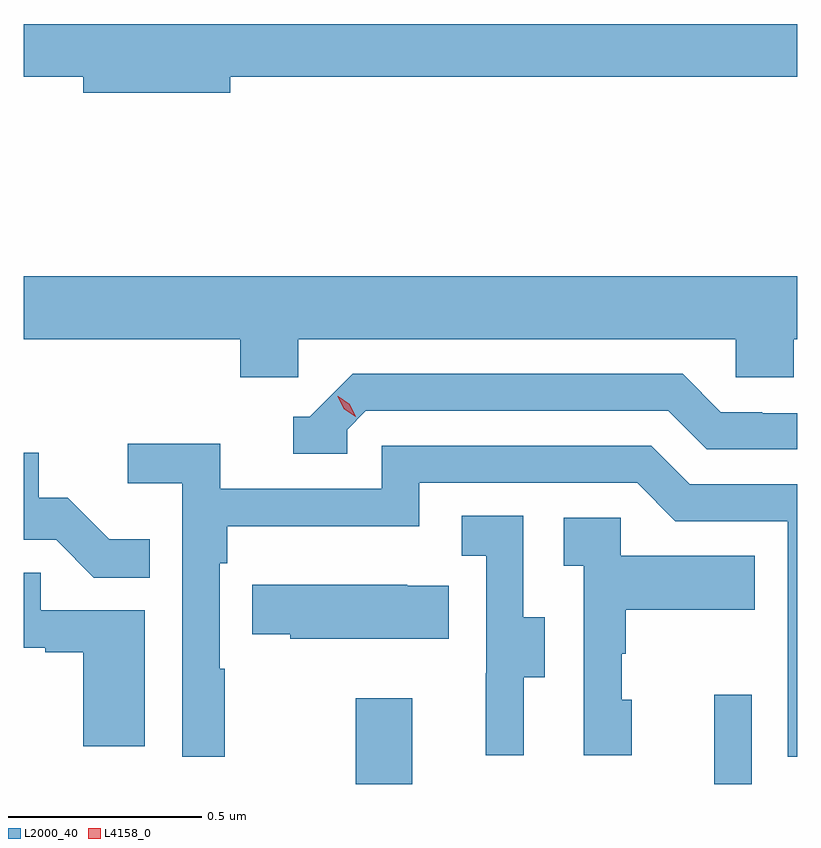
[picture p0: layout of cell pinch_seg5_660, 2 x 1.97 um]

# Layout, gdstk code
import gdstk
lib = gdstk.Library(unit=1e-6, precision=1e-09)
def R(c, l, rs):  # rectangles x0, y0, x1, y1
    for r in rs: c.add(gdstk.rectangle(r[:2], r[2:], *l))
def P(c, l, *ps):  # polygons
    for p in ps: c.add(gdstk.Polygon(p, *l))
L2000_40 = (2000, 40)
L4158_0 = (4158, 0)

pinch_seg5_660 = lib.new_cell('pinch_seg5_660')
R(pinch_seg5_660, L2000_40, [(1072.696,851.614,1072.843,851.836), (1073.624,851.614,1073.721,851.845)])
P(pinch_seg5_660, L2000_40, [(1072.372,853.444),(1073.838,853.444),(1073.838,853.58),(1071.838,853.58),(1071.838,853.444),(1071.992,853.444),(1071.992,853.402),(1072.372,853.402)],
  [(1072.548,852.764),(1073.679,852.764),(1073.679,852.666),(1073.829,852.666),(1073.829,852.764),(1073.838,852.764),(1073.838,852.928),(1071.838,852.928),(1071.838,852.764),(1072.397,852.764),(1072.397,852.666),(1072.548,852.666)],
  [(1072.674,852.531),(1072.722,852.579),(1073.505,852.579),(1073.604,852.48),(1073.838,852.48),(1073.838,852.573),(1073.748,852.573),(1073.748,852.576),(1073.641,852.576),(1073.542,852.675),(1072.689,852.675),(1072.578,852.564),(1072.535,852.564),(1072.535,852.468),(1072.674,852.468)],
  [(1072.357,851.912),(1072.344,851.912),(1072.344,852.185),(1072.364,852.185),(1072.364,852.281),(1072.86,852.281),(1072.86,852.393),(1073.424,852.393),(1073.523,852.294),(1073.814,852.294),(1073.814,851.685),(1073.838,851.685),(1073.838,852.39),(1073.56,852.39),(1073.461,852.489),(1072.764,852.489),(1072.764,852.378),(1072.346,852.378),(1072.346,852.494),(1072.107,852.494),(1072.107,852.392),(1072.248,852.392),(1072.248,851.685),(1072.357,851.685)],
  [(1072.163,852.247),(1072.059,852.247),(1071.952,852.354),(1071.876,852.354),(1071.876,852.471),(1071.838,852.471),(1071.838,852.246),(1071.921,852.246),(1072.019,852.148),(1072.163,852.148)],
  [(1073.131,851.89),(1073.185,851.89),(1073.185,852.045),(1073.13,852.045),(1073.13,852.308),(1072.971,852.308),(1072.971,852.205),(1073.034,852.205),(1073.034,851.901),(1073.033,851.901),(1073.033,851.688),(1073.131,851.688)],
  [(1073.41,851.832),(1073.385,851.832),(1073.385,851.951),(1073.395,851.951),(1073.395,852.065),(1073.729,852.065),(1073.729,852.205),(1073.382,852.205),(1073.382,852.303),(1073.235,852.303),(1073.235,852.179),(1073.286,852.179),(1073.286,851.688),(1073.41,851.688)],
  [(1072.15,852.063),(1071.881,852.063),(1071.881,852.161),(1071.838,852.161),(1071.838,851.967),(1071.893,851.967),(1071.893,851.955),(1071.992,851.955),(1071.992,851.712),(1072.15,851.712)],
  [(1072.937,852.127),(1072.829,852.127),(1072.829,852.13),(1072.429,852.13),(1072.429,852.001),(1072.527,852.001),(1072.527,851.99),(1072.937,851.99)])
P(pinch_seg5_660, L4158_0, [(1072.697,852.564),(1072.666,852.584),(1072.65,852.616),(1072.65,852.617),(1072.651,852.617),(1072.681,852.597),(1072.697,852.565),(1072.697,852.564)])

lib.write_gds('pinch_seg5_660.gds')
